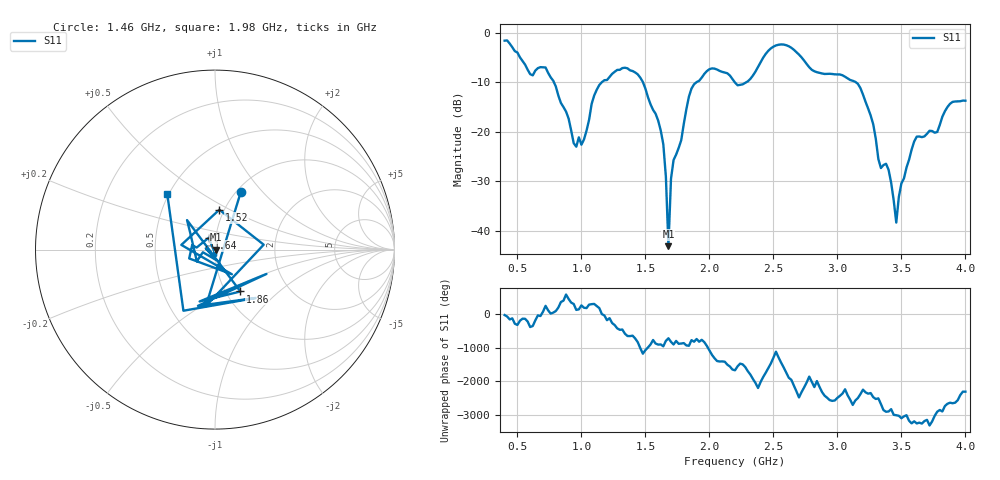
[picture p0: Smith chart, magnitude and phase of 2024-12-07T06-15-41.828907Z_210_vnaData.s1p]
!Created with skrf (http://scikit-rf.org).
# Hz S RI R 50.0
!freq ReS11 ImS11
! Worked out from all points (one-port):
!   181 points, 400 MHz to 4 GHz, reference 50 ohm
!   lowest |S11| = -43.0 dB at 1.68 GHz (marker M1), VSWR 1.01, Z = 50.7 - j0.0468 ohm
!   |S11| at or under -10 dB: 785.3 MHz to 1.159 GHz (374 MHz wide, 38.5 % of centre); 1.481 GHz to 1.899 GHz (417.7 MHz wide, 24.7 % of centre); 3.144 GHz to end of sweep (the widest 3 of 4)
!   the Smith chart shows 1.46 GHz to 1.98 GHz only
!   S11 on the Smith chart (normalised r, x): 1.46 GHz: 1.05, +0.77; 1.52 GHz: 0.95, +0.44; 1.64 GHz: 0.92, +0.12; 1.86 GHz: 1.17, -0.59; 1.98 GHz: 0.49, +0.37
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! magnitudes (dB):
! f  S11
! 400 MHz  -1.6
! 600 MHz  -8.4
! 720 MHz  -7.0
! 860 MHz  -15.0
! 940 MHz  -22.3
! 1 GHz  -22.6
! 1.12 GHz  -11.5
! 1.3 GHz  -7.5
! 1.46 GHz  -9.1
! 1.52 GHz  -13.0
! 1.64 GHz  -22.5
! 1.66 GHz  -29.0
! 1.68 GHz  -43.0
! 1.7 GHz  -29.4
! 1.76 GHz  -23.2
! 1.86 GHz  -11.3
! 1.98 GHz  -7.8
! 2.2 GHz  -10.1
! 2.5 GHz  -2.8
! 2.66 GHz  -3.5
! 3.1 GHz  -9.5
! 3.26 GHz  -16.7
! 3.34 GHz  -27.3
! 3.4 GHz  -27.7
! 3.46 GHz  -38.3
! 3.56 GHz  -25.6
! 3.62 GHz  -21.0
! 4 GHz  -13.7
